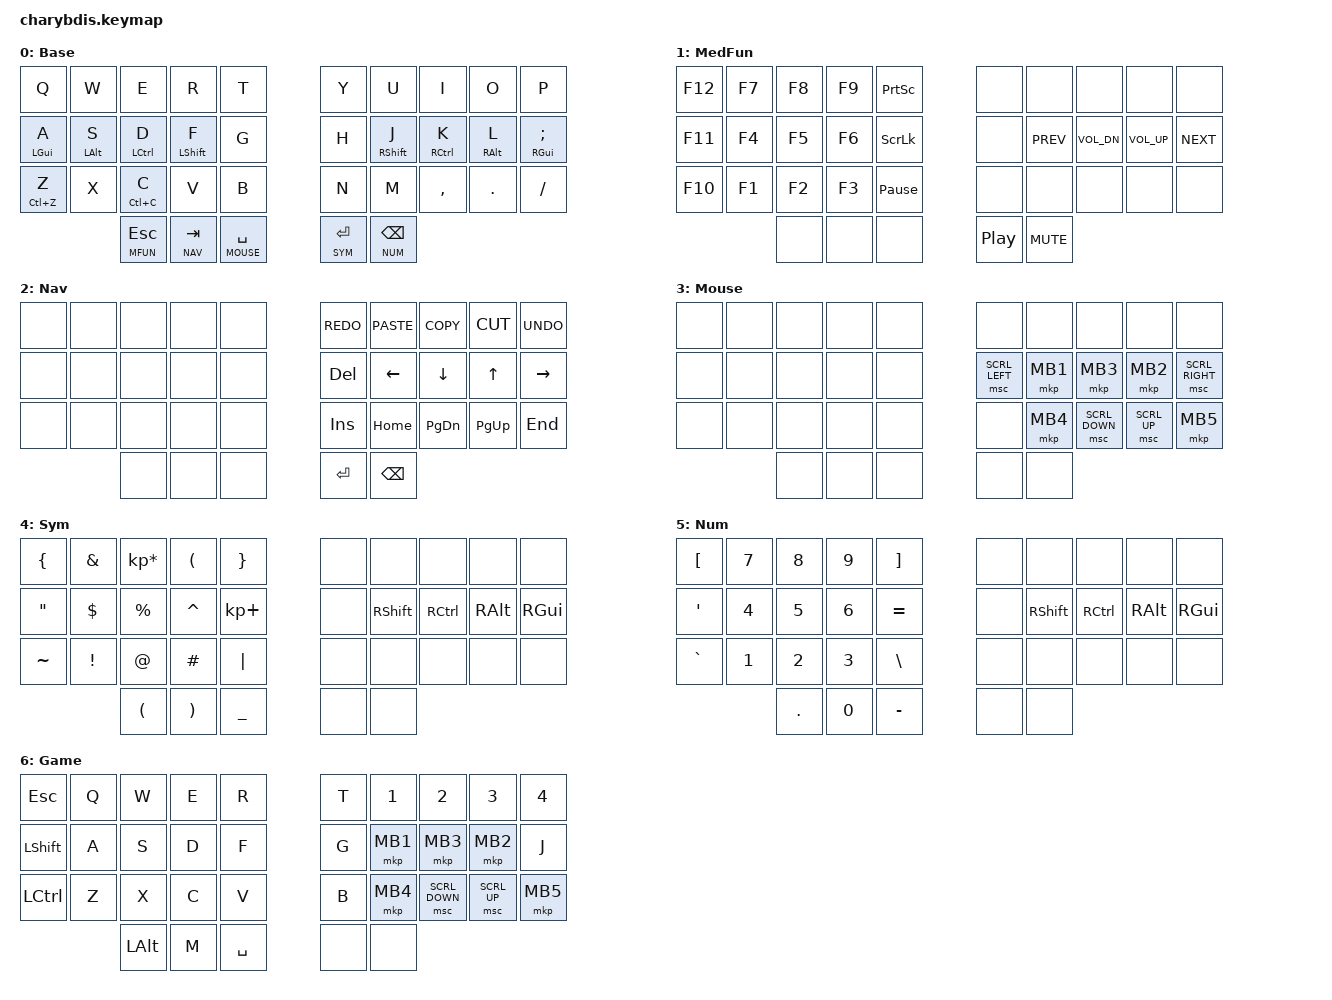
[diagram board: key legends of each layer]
#include <behaviors.dtsi>
#include <dt-bindings/zmk/keys.h>

#define ZMK_POINTING_DEFAULT_SCRL_VAL 30   // default: 10
#include <dt-bindings/zmk/pointing.h>

#define BASE 0
#define MFUN 1
#define NAV 2
#define MOUSE 3
#define SYM 4
#define NUM 5
#define GAME 6

// < 0  1  2  3  4    5  6  7  8  9  >
// < 10 11 12 13 14   15 16 17 18 19 >
// < 20 21 22 23 24   25 26 27 28 29 >
// <       30 31 32   33 34          >
#define KEYS_L 0 1 2 3 4 10 11 12 13 14 20 21 22 23 24
#define KEYS_R 5 6 7 8 9 15 16 17 18 19 25 26 27 28 29
#define THUMBS 30 31 32 33 34 35

&mt {
  flavor = "tap-preferred";
};

/* Used for thumb keys */
&lt {
  /*
   * Trigger the hold behavior when the tapping-term-ms has expired or another
   * key is pressed and released while the hold-tap is held
   */
  flavor = "balanced";
  /* How long a key must be pressed to trigger the "hold" behavior. */
  tapping-term-ms = <200>;
  /* Tap then hold to repeat. */
  quick-tap-ms = <175>;
};

/ {
    behaviors {
        hml: hml {
            compatible = "zmk,behavior-hold-tap";
            #binding-cells = <2>;
            flavor = "balanced";
            tapping-term-ms = <2000>;
            quick-tap-ms = <175>;
            require-prior-idle-ms = <250>;
            hold-trigger-key-positions = <KEYS_R THUMBS>;
            hold-trigger-on-release;
            bindings =
                <&kp>,
                <&kp>;
        };

        hmr: hmr {
            compatible = "zmk,behavior-hold-tap";
            #binding-cells = <2>;
            flavor = "balanced";
            tapping-term-ms = <2000>;
            quick-tap-ms = <175>;
            require-prior-idle-ms = <250>;
            hold-trigger-key-positions = <KEYS_L THUMBS>;
            hold-trigger-on-release;
            bindings =
                <&kp>,
                <&kp>;
        };
    };

    combos {
        compatible = "zmk,combos";
        timeout-ms = <20>;
        require-prior-idle-ms = <250>;

        combo_normal {
            key-positions = <6 8>;
            bindings = <&to BASE>;
        };
        combo_game {
            key-positions = <5 9>;
            bindings = <&to GAME>;
        };
        combo_mouse {
            key-positions = <5 8>;
            bindings = <&to MOUSE>;
        };
    };

    keymap {
        compatible = "zmk,keymap";

        base {
            display-name = "Base";
            bindings = <
// ---------------------------------     ----------------------------------
// |  Q  |  W  |  E  |  R  |   T   |     |   Y   |   U  |  I  |  O  |  P  |
// | {A} | {S} | {D} | {F} |   G   |     |   H   |  {J} | {K} | {L} | {;} |
// | (Z) |  X  | (C) |  V  |   B   |     |   N   |   M  |  ,  |  .  |  /  |
// |           | ESC | TAB | SPACE |     | ENTER | BSPC |                 |
// ---------------------------------     ---------------------------------
&kp Q       &kp W       &kp E        &kp R         &kp T             /**/   &kp Y       &kp U         &kp I        &kp O       &kp P
&hml LGUI A &hml LALT S &hml LCTRL D &hml LSHIFT F &kp G             /**/   &kp H       &hmr RSHIFT J &hmr RCTRL K &hmr RALT L &hmr RGUI SEMI
&mt LC(Z) Z &kp X       &mt LC(C) C  &kp V         &kp B             /**/   &kp N       &kp M         &kp COMMA    &kp DOT     &kp FSLH
                        &lt MFUN ESC &lt NAV TAB   &lt MOUSE SPACE   /**/   &lt SYM RET &lt NUM BSPC
            >;
        };

        media_fun {
            display-name = "MedFun";
            bindings = <
&kp F12 &kp F7 &kp F8 &kp F9 &kp PSCRN        /**/   &none            &none      &none        &none        &none
&kp F11 &kp F4 &kp F5 &kp F6 &kp SLCK         /**/   &none            &kp C_PREV &kp C_VOL_DN &kp C_VOL_UP &kp C_NEXT
&kp F10 &kp F1 &kp F2 &kp F3 &kp PAUSE_BREAK  /**/   &none            &none      &none        &none        &none
               &none  &none  &none            /**/   &kp C_PLAY_PAUSE &kp C_MUTE
            >;
        };

        nav {
            display-name = "Nav";
            bindings = <
&none &none &none &none &none   /**/   &kp K_REDO &kp K_PASTE &kp K_COPY &kp K_CUT &kp K_UNDO
&none &none &none &none &none   /**/   &kp DEL    &kp LEFT    &kp DOWN   &kp UP    &kp RIGHT
&none &none &none &none &none   /**/   &kp INS    &kp HOME    &kp PG_DN  &kp PG_UP &kp END
            &none &none &none   /**/   &kp RET    &kp BSPC
            >;
        };

        mouse {
            display-name = "Mouse";
            bindings = <
&none &none &none &none &none   /**/   &none          &none    &none          &none        &none
&none &none &none &none &none   /**/   &msc SCRL_LEFT &mkp MB1 &mkp MB3       &mkp MB2     &msc SCRL_RIGHT
&none &none &none &none &none   /**/   &none          &mkp MB4 &msc SCRL_DOWN &msc SCRL_UP &mkp MB5
            &none &none &none   /**/   &none          &none
            >;
        };
        sym {
            display-name = "Sym";
            bindings = <
&kp LBRC  &kp AMPS   &kp KP_MULTIPLY &kp LPAR  &kp RBRC      /**/   &none &none      &none     &none    &none
&kp DQT   &kp DOLLAR &kp PRCNT       &kp CARET &kp KP_PLUS   /**/   &none &kp RSHIFT &kp RCTRL &kp RALT &kp RGUI
&kp TILDE &kp EXCL   &kp AT          &kp HASH  &kp PIPE      /**/   &none &none      &none     &none    &none
                     &kp LPAR        &kp RPAR  &kp UNDER     /**/   &none &none
            >;
        };

        num {
            display-name = "Num";
            bindings = <
&kp LBKT  &kp N7 &kp N8  &kp N9 &kp RBKT    /**/   &none &none      &none     &none    &none
&kp SQT   &kp N4 &kp N5  &kp N6 &kp EQUAL   /**/   &none &kp RSHIFT &kp RCTRL &kp RALT &kp RGUI
&kp GRAVE &kp N1 &kp N2  &kp N3 &kp BSLH    /**/   &none &none      &none     &none    &none
                 &kp DOT &kp N0 &kp MINUS   /**/   &none &none
            >;
        };

        game {
            display-name = "Game";
            bindings = <
&kp ESC    &kp Q &kp W    &kp E &kp R       /**/   &kp T &kp N1   &kp N2         &kp N3       &kp N4
&kp LSHIFT &kp A &kp S    &kp D &kp F       /**/   &kp G &mkp MB1 &mkp MB3       &mkp MB2     &kp J
&kp LCTRL  &kp Z &kp X    &kp C &kp V       /**/   &kp B &mkp MB4 &msc SCRL_DOWN &msc SCRL_UP &mkp MB5
                 &kp LALT &kp M &kp SPACE   /**/   &none &none
            >;
        };
    };
};
